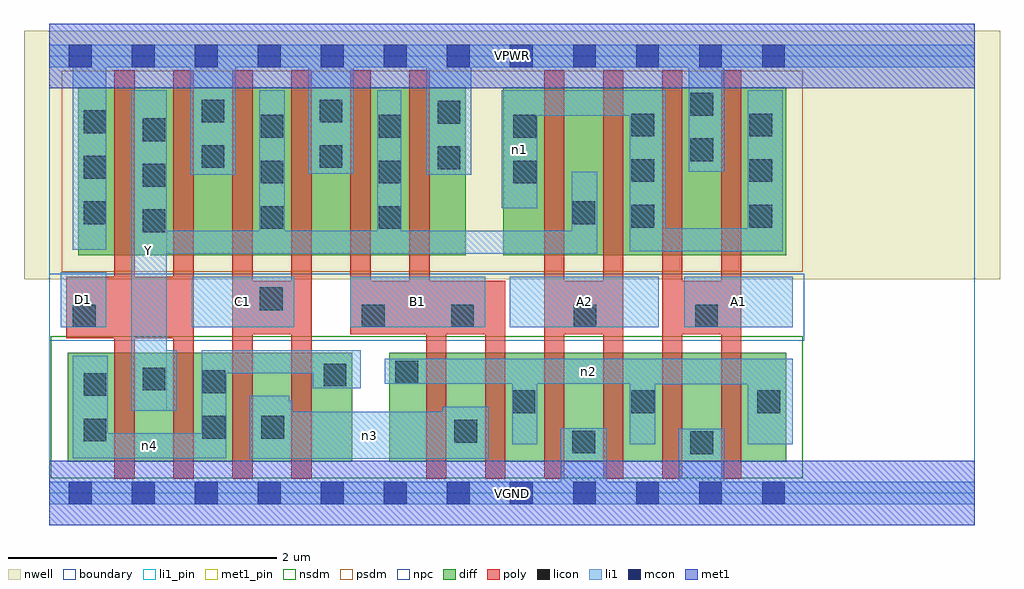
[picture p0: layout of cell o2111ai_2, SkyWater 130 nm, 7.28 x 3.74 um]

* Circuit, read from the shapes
.subckt o2111ai_2 A1 A2 B1 C1 D1 VGND VPWR Y n1 n2 n3 n4
XM1 Y D1 n4 VSUBS sky130_fd_pr__nfet_01v8 w=0.81 l=0.15 m=2
XM2 n3 C1 n4 VSUBS sky130_fd_pr__nfet_01v8 w=0.81 l=0.15 m=2
XM3 n3 B1 n2 VSUBS sky130_fd_pr__nfet_01v8 w=0.81 l=0.15 m=2
XM4 VGND A2 n2 VSUBS sky130_fd_pr__nfet_01v8 w=0.81 l=0.15 m=2
XM5 VGND A1 n2 VSUBS sky130_fd_pr__nfet_01v8 w=0.81 l=0.15 m=2
XM6 Y D1 VPWR n5 sky130_fd_pr__pfet_01v8 w=1.25 l=0.15 m=2
XM7 Y C1 VPWR n5 sky130_fd_pr__pfet_01v8 w=1.25 l=0.15 m=2
XM8 Y B1 VPWR n5 sky130_fd_pr__pfet_01v8 w=1.25 l=0.15 m=2
XM9 Y A2 n1 n5 sky130_fd_pr__pfet_01v8 w=1.25 l=0.15 m=2
XM10 VPWR A1 n1 n5 sky130_fd_pr__pfet_01v8 w=1.25 l=0.15 m=2
.ends

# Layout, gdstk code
import gdstk
lib = gdstk.Library(unit=1e-6, precision=1e-09)
def R(c, l, rs):  # rectangles x0, y0, x1, y1
    for r in rs: c.add(gdstk.rectangle(r[:2], r[2:], *l))
def A(c, l, x, y, w, h, nx, ny, dx, dy):  # array of equal rectangles
    R(c, l, [(x+i*dx, y+j*dy, x+i*dx+w, y+j*dy+h) for i in range(nx) for j in range(ny)])
nwell = (64, 20)
diff = (65, 20)
poly = (66, 20)
licon = (66, 44)
li1_pin = (67, 16)
li1 = (67, 20)
mcon = (67, 44)
met1_pin = (68, 16)
met1 = (68, 20)
nsdm = (93, 44)
psdm = (94, 20)
npc = (95, 20)
boundary = (235, 4)

o2111ai_2 = lib.new_cell('o2111ai_2')
R(o2111ai_2, nwell, [(-0.19,1.595,7.09,3.45), (0,1.595,6.9,3.45)])
R(o2111ai_2, diff, [(0.135,0.235,2.26,1.045), (2.535,0.235,5.495,1.045), (0.215,1.775,3.105,3.025), (3.385,1.775,5.495,3.025)])
A(o2111ai_2, poly, 0.485, 0.105, 0.15, 3.05, 4, 1, 0.44, 0)
A(o2111ai_2, poly, 3.69, 0.105, 0.15, 3.05, 4, 1, 0.44, 0)
R(o2111ai_2, poly, [(2.81,0.105,2.96,1.585), (3.25,0.105,3.4,1.585), (0.125,1.155,1.075,1.615), (1.365,1.185,1.955,1.585), (2.245,1.185,3.4,1.585), (2.245,1.185,2.395,3.155), (2.685,1.185,2.835,3.155), (3.69,1.185,4.28,1.585), (4.57,1.185,5.16,1.585)])
A(o2111ai_2, licon, 0.695, 1.945, 0.17, 0.17, 1, 3, 0, 0.34)
A(o2111ai_2, licon, 1.575, 1.97, 0.17, 0.17, 1, 3, 0, 0.34)
A(o2111ai_2, licon, 2.455, 1.97, 0.17, 0.17, 1, 3, 0, 0.34)
A(o2111ai_2, licon, 4.34, 1.98, 0.17, 0.17, 1, 3, 0, 0.34)
A(o2111ai_2, licon, 5.22, 1.98, 0.17, 0.17, 1, 3, 0, 0.34)
A(o2111ai_2, licon, 0.255, 2.005, 0.17, 0.17, 1, 3, 0, 0.34)
R(o2111ai_2, licon, [(4.78,0.29,4.95,0.46), (3.9,0.295,4.07,0.465), (3.02,0.375,3.19,0.545), (0.255,0.385,0.425,0.555), (1.14,0.405,1.31,0.575), (1.58,0.405,1.75,0.575), (3.455,0.595,3.625,0.765), (4.34,0.595,4.51,0.765), (5.28,0.595,5.45,0.765), (0.255,0.725,0.425,0.895), (1.14,0.745,1.31,0.915), (0.695,0.765,0.865,0.935), (2.045,0.795,2.215,0.965), (2.58,0.815,2.75,0.985), (0.175,1.235,0.345,1.405), (2.33,1.235,2.5,1.405), (2.995,1.235,3.165,1.405), (3.91,1.235,4.08,1.405), (4.815,1.235,4.985,1.405), (1.57,1.365,1.74,1.535), (3.9,2.005,4.07,2.175), (3.46,2.31,3.63,2.48), (2.895,2.415,3.065,2.585), (1.135,2.425,1.305,2.595), (2.015,2.425,2.185,2.595), (4.78,2.475,4.95,2.645), (3.46,2.65,3.63,2.82), (2.895,2.755,3.065,2.925), (1.135,2.765,1.305,2.935), (2.015,2.765,2.185,2.935), (4.78,2.815,4.95,2.985)])
R(o2111ai_2, li1_pin, [(0.61,0.615,0.875,3.005), (0.085,1.235,0.425,1.645), (1.06,1.235,1.825,1.615), (2.245,1.235,3.25,1.615), (3.435,1.235,4.545,1.615), (4.735,1.235,5.545,1.615)])
R(o2111ai_2, li1, [(0,-0.085,6.9,0.085), (3.815,-0.085,4.155,0.485), (4.695,-0.085,5.035,0.48), (1.495,0.255,3.275,0.605), (1.495,0.255,1.79,0.725), (1.495,0.255,1.81,0.69), (2.935,0.255,3.275,0.645), (0.175,0.26,1.32,0.445), (0.175,0.26,0.435,1.025), (1.135,0.26,1.32,1.065), (3.45,0.365,3.64,1), (4.33,0.365,4.52,1), (5.21,0.365,5.545,1), (0.61,0.615,0.875,3.005), (0.61,0.615,0.95,1.065), (1.965,0.78,2.32,1.065), (4.33,0.81,5.545,1), (2.5,0.815,5.545,1), (1.135,0.895,2.32,1.065), (0.085,1.235,0.425,1.645), (1.06,1.235,1.825,1.615), (2.245,1.235,3.25,1.615), (3.435,1.235,4.545,1.615), (4.735,1.235,5.545,1.615), (0.61,1.785,4.085,1.955), (1.565,1.785,1.755,3.005), (2.445,1.785,2.625,3.005), (3.895,1.785,4.085,2.395), (4.33,1.805,4.595,3.005), (4.33,1.805,5.47,1.975), (5.21,1.805,5.47,3.005), (0.175,1.815,0.425,3.345), (3.375,2.125,3.64,3.005), (1.05,2.375,1.39,3.345), (2.81,2.375,3.145,3.345), (1.93,2.38,2.27,3.345), (4.77,2.395,5.035,3.345), (3.375,2.815,4.595,3.005), (0,3.175,6.9,3.345)])
A(o2111ai_2, mcon, 0.145, -0.085, 0.17, 0.17, 12, 2, 0.47, 3.26)
R(o2111ai_2, met1_pin, [(0,-0.24,6.9,0.24), (0,3.02,6.9,3.5)])
R(o2111ai_2, met1, [(0,-0.24,6.9,0.24), (0,3.02,6.9,3.5)])
R(o2111ai_2, nsdm, [(0.01,0.11,5.62,1.17)])
R(o2111ai_2, psdm, [(0.09,1.65,5.62,3.15)])
R(o2111ai_2, npc, [(0,1.135,5.63,1.635)])
R(o2111ai_2, boundary, [(0,0,6.9,3.26)])
o2111ai_2.add(gdstk.Label('A1', (5.14,1.425), layer=67, texttype=5))
o2111ai_2.add(gdstk.Label('A2', (3.99,1.425), layer=67, texttype=5))
o2111ai_2.add(gdstk.Label('B1', (2.747,1.425), layer=67, texttype=5))
o2111ai_2.add(gdstk.Label('C1', (1.442,1.425), layer=67, texttype=5))
o2111ai_2.add(gdstk.Label('D1', (0.255,1.44), layer=67, texttype=5))
o2111ai_2.add(gdstk.Label('Y', (0.742,1.81), layer=67, texttype=5))
o2111ai_2.add(gdstk.Label('n3', (2.385,0.43), layer=67, texttype=5))
o2111ai_2.add(gdstk.Label('n2', (4.022,0.907), layer=67, texttype=5))
o2111ai_2.add(gdstk.Label('n4', (0.747,0.352), layer=67, texttype=5))
o2111ai_2.add(gdstk.Label('n1', (3.507,2.565), layer=67, texttype=5))
o2111ai_2.add(gdstk.Label('VPWR', (3.45,3.26), layer=68, texttype=5))
o2111ai_2.add(gdstk.Label('VGND', (3.45,0), layer=68, texttype=5))
o2111ai_2.add(gdstk.Label('A1', (5.14,1.425), layer=67, texttype=16))
o2111ai_2.add(gdstk.Label('A2', (3.99,1.425), layer=67, texttype=16))
o2111ai_2.add(gdstk.Label('B1', (2.747,1.425), layer=67, texttype=16))
o2111ai_2.add(gdstk.Label('C1', (1.442,1.425), layer=67, texttype=16))
o2111ai_2.add(gdstk.Label('D1', (0.255,1.44), layer=67, texttype=16))
o2111ai_2.add(gdstk.Label('Y', (0.742,1.81), layer=67, texttype=16))
o2111ai_2.add(gdstk.Label('VPWR', (3.45,3.26), layer=68, texttype=16))
o2111ai_2.add(gdstk.Label('VGND', (3.45,0), layer=68, texttype=16))

lib.write_gds('o2111ai_2.gds')
